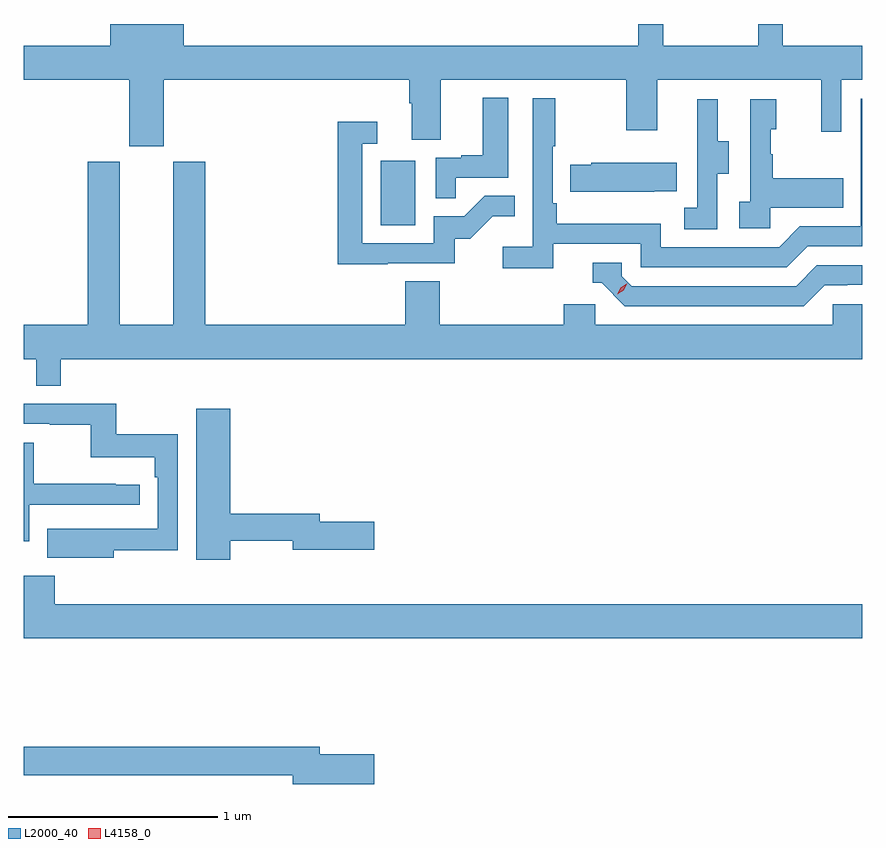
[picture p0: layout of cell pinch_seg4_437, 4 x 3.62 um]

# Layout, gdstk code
import gdstk
lib = gdstk.Library(unit=1e-6, precision=1e-09)
def R(c, l, rs):  # rectangles x0, y0, x1, y1
    for r in rs: c.add(gdstk.rectangle(r[:2], r[2:], *l))
def P(c, l, *ps):  # polygons
    for p in ps: c.add(gdstk.Polygon(p, *l))
L2000_40 = (2000, 40)
L4158_0 = (4158, 0)

pinch_seg4_437 = lib.new_cell('pinch_seg4_437')
R(pinch_seg4_437, L2000_40, [(939.656,773.484,939.82,773.791)])
P(pinch_seg4_437, L2000_40, [(938.62,774.176),(939.791,774.176),(939.791,774.064),(939.803,774.064),(939.803,773.89),(939.943,773.89),(939.943,774.176),(940.828,774.176),(940.828,773.937),(940.975,773.937),(940.975,774.176),(941.756,774.176),(941.756,773.928),(941.853,773.928),(941.853,774.176),(941.953,774.176),(941.953,774.34),(941.573,774.34),(941.573,774.443),(941.456,774.443),(941.456,774.34),(941.003,774.34),(941.003,774.443),(940.885,774.443),(940.885,774.34),(938.716,774.34),(938.716,774.443),(938.366,774.443),(938.366,774.34),(937.953,774.34),(937.953,774.176),(938.456,774.176),(938.456,773.859),(938.62,773.859)],
  [(940.013,773.709),(940.264,773.709),(940.264,774.091),(940.142,774.091),(940.142,773.818),(940.039,773.818),(940.039,773.805),(939.918,773.805),(939.918,773.611),(940.013,773.611)],
  [(940.478,773.394),(940.896,773.394),(940.896,773.283),(941.593,773.283),(941.692,773.382),(941.953,773.382),(941.953,774.087),(941.946,774.087),(941.946,773.478),(941.655,773.478),(941.556,773.379),(940.992,773.379),(940.992,773.491),(940.496,773.491),(940.496,773.587),(940.476,773.587),(940.476,773.86),(940.489,773.86),(940.489,774.088),(940.38,774.088),(940.38,773.38),(940.239,773.38),(940.239,773.278),(940.478,773.278)],
  [(941.262,773.728),(941.317,773.728),(941.317,773.883),(941.263,773.883),(941.263,774.085),(941.165,774.085),(941.165,773.871),(941.166,773.871),(941.166,773.567),(941.103,773.567),(941.103,773.464),(941.262,773.464)],
  [(941.514,773.567),(941.861,773.567),(941.861,773.707),(941.527,773.707),(941.527,773.822),(941.517,773.822),(941.517,773.94),(941.542,773.94),(941.542,774.085),(941.418,774.085),(941.418,773.594),(941.367,773.594),(941.367,773.469),(941.514,773.469)],
  [(939.689,773.301),(940.008,773.301),(940.008,773.418),(940.084,773.418),(940.191,773.525),(940.295,773.525),(940.295,773.624),(940.152,773.624),(940.054,773.526),(939.909,773.526),(939.909,773.397),(939.567,773.397),(939.567,773.871),(939.64,773.871),(939.64,773.977),(939.451,773.977),(939.451,773.296),(939.689,773.296)],
  [(937.953,772.844),(938.013,772.844),(938.013,772.717),(938.129,772.717),(938.129,772.844),(941.953,772.844),(941.953,773.106),(941.811,773.106),(941.811,773.008),(940.68,773.008),(940.68,773.106),(940.529,773.106),(940.529,773.008),(939.938,773.008),(939.938,773.216),(939.773,773.216),(939.773,773.008),(938.819,773.008),(938.819,773.787),(938.666,773.787),(938.666,773.008),(938.41,773.008),(938.41,773.787),(938.258,773.787),(938.258,773.008),(937.953,773.008)],
  [(940.961,773.645),(941.069,773.645),(941.069,773.782),(940.659,773.782),(940.659,773.772),(940.561,773.772),(940.561,773.642),(940.961,773.642)],
  [(941.773,773.196),(941.88,773.196),(941.88,773.199),(941.953,773.199),(941.953,773.292),(941.736,773.292),(941.637,773.193),(940.854,773.193),(940.806,773.241),(940.806,773.304),(940.667,773.304),(940.667,773.208),(940.71,773.208),(940.821,773.097),(941.674,773.097)],
  [(938.383,771.934),(938.688,771.934),(938.688,772.486),(938.395,772.486),(938.395,772.632),(937.953,772.632),(937.953,772.536),(938.077,772.536),(938.077,772.531),(938.274,772.531),(938.274,772.376),(938.579,772.376),(938.579,772.28),(938.592,772.28),(938.592,772.035),(938.279,772.035),(938.279,772.036),(938.065,772.036),(938.065,771.896),(938.383,771.896)],
  [(938.938,771.978),(939.236,771.978),(939.236,771.935),(939.625,771.935),(939.625,772.07),(939.364,772.07),(939.364,772.106),(938.938,772.106),(938.938,772.609),(938.777,772.609),(938.777,771.888),(938.938,771.888)],
  [(937.98,772.149),(938.506,772.149),(938.506,772.245),(938.393,772.245),(938.393,772.25),(938,772.25),(938,772.446),(937.953,772.446),(937.953,771.977),(937.98,771.977)],
  [(941.953,771.676),(938.102,771.676),(938.102,771.811),(937.953,771.811),(937.953,771.512),(941.953,771.512)],
  [(939.625,770.96),(939.364,770.96),(939.364,770.996),(937.953,770.996),(937.953,770.86),(939.236,770.86),(939.236,770.818),(939.625,770.818)])
P(pinch_seg4_437, L4158_0, [(940.784,773.154),(940.784,773.154),(940.8,773.186),(940.831,773.206),(940.831,773.206),(940.831,773.206),(940.815,773.173),(940.785,773.154)])

lib.write_gds('pinch_seg4_437.gds')
